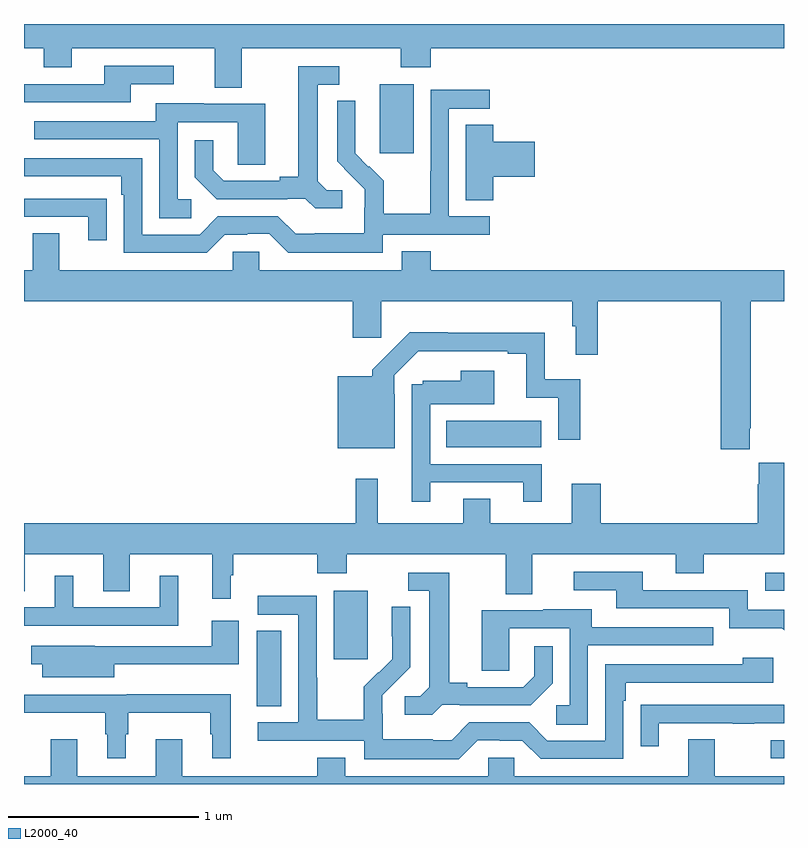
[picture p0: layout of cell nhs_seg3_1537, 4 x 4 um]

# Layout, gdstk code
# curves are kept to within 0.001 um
import gdstk
lib = gdstk.Library(unit=1e-6, precision=1e-09)
def R(c, l, rs):  # rectangles x0, y0, x1, y1
    for r in rs: c.add(gdstk.rectangle(r[:2], r[2:], *l))
def P(c, l, *ps):  # polygons
    for p in ps: c.add(gdstk.Polygon(p, *l))
L2000_40 = (2000, 40)

nhs_seg3_1537 = lib.new_cell('nhs_seg3_1537')
R(nhs_seg3_1537, L2000_40, [(194.931,674.535,195,674.631), (192.224,674.809,192.355,675.206), (192.629,675.057,192.808,675.418), (194.901,675.417,195,675.513), (193.222,676.172,193.723,676.312), (192.872,677.721,193.051,678.082)])
P(nhs_seg3_1537, L2000_40, [(192.145,678.272),(192.982,678.272),(192.982,678.173),(193.142,678.173),(193.142,678.272),(195,678.272),(195,678.4),(191,678.4),(191,678.272),(191.104,678.272),(191.104,678.173),(191.251,678.173),(191.251,678.272),(192.005,678.272),(192.005,678.064),(192.145,678.064)],
  [(191.563,678.084),(191.788,678.084),(191.788,678.18),(191.423,678.18),(191.423,678.084),(191,678.084),(191,677.988),(191.563,677.988)],
  [(192.676,677.526),(192.594,677.526),(192.547,677.573),(192.547,678.081),(192.658,678.081),(192.658,678.177),(192.443,678.177),(192.443,677.597),(192.347,677.597),(192.347,677.574),(192.052,677.574),(191.995,677.631),(191.995,677.788),(191.898,677.788),(191.898,677.594),(192.014,677.478),(192.386,677.478),(192.386,677.481),(192.48,677.481),(192.532,677.429),(192.676,677.429)],
  [(192.888,677.292),(193.45,677.292),(193.45,677.388),(193.236,677.388),(193.236,677.955),(193.45,677.955),(193.45,678.054),(193.14,678.054),(193.14,677.624),(193.138,677.624),(193.138,677.401),(192.893,677.401),(192.893,677.575),(192.816,677.652),(192.813,677.649),(192.743,677.72),(192.744,677.996),(192.648,677.996),(192.648,677.678),(192.794,677.53),(192.794,677.433),(192.792,677.433),(192.792,677.299),(192.529,677.299),(192.529,677.295),(192.429,677.295),(192.336,677.388),(192.021,677.388),(191.925,677.292),(191.622,677.292),(191.622,677.694),(191,677.694),(191,677.598),(191.513,677.598),(191.513,677.501),(191.526,677.501),(191.526,677.196),(191.961,677.196),(192.057,677.292),(192.176,677.292),(192.176,677.295),(192.291,677.295),(192.391,677.195),(192.888,677.195)],
  [(191.881,677.478),(191.808,677.478),(191.808,677.883),(192.126,677.883),(192.126,677.659),(192.271,677.659),(192.271,677.979),(191.947,677.979),(191.947,677.983),(191.693,677.983),(191.693,677.889),(191.053,677.889),(191.053,677.793),(191.712,677.793),(191.712,677.377),(191.881,677.377)],
  [(193.469,677.597),(193.687,677.597),(193.687,677.78),(193.469,677.78),(193.469,677.87),(193.325,677.87),(193.325,677.473),(193.469,677.473)],
  [(191.435,677.48),(191.333,677.48),(191.333,677.481),(191,677.481),(191,677.385),(191.339,677.385),(191.339,677.262),(191.435,677.262)],
  [(194.821,676.273),(194.826,676.273),(194.826,676.94),(195,676.94),(195,677.104),(193.142,677.104),(193.142,677.203),(192.989,677.203),(192.989,677.104),(192.237,677.104),(192.237,677.202),(192.099,677.202),(192.099,677.104),(191.185,677.104),(191.185,677.299),(191.045,677.299),(191.045,677.104),(191,677.104),(191,676.94),(192.731,676.94),(192.731,676.749),(192.881,676.749),(192.881,676.94),(193.885,676.94),(193.885,676.808),(193.904,676.808),(193.904,676.659),(194.021,676.659),(194.021,676.94),(194.666,676.94),(194.666,676.161),(194.821,676.161)],
  [(192.952,676.451),(192.948,676.451),(192.948,676.551),(193.074,676.677),(193.547,676.677),(193.547,676.665),(193.643,676.665),(193.643,676.434),(193.812,676.434),(193.812,676.212),(193.928,676.212),(193.928,676.53),(193.741,676.53),(193.741,676.774),(193.229,676.774),(193.229,676.777),(193.03,676.777),(192.833,676.579),(192.833,676.546),(192.65,676.546),(192.65,676.166),(192.952,676.166)],
  [(193.138,675.987),(193.628,675.987),(193.628,675.885),(193.726,675.885),(193.726,676.083),(193.137,676.083),(193.137,676.4),(193.474,676.4),(193.474,676.576),(193.298,676.576),(193.298,676.522),(193.098,676.522),(193.098,676.503),(193.041,676.503),(193.041,675.885),(193.138,675.885)],
  [(192.088,675.5),(192.1,675.5),(192.1,675.608),(192.544,675.608),(192.544,675.509),(192.699,675.509),(192.699,675.608),(193.535,675.608),(193.535,675.4),(193.675,675.4),(193.675,675.608),(194.429,675.608),(194.429,675.509),(194.577,675.509),(194.577,675.608),(195,675.608),(195,676.09),(194.867,676.09),(194.867,675.977),(194.861,675.977),(194.861,675.772),(194.036,675.772),(194.036,675.979),(193.883,675.979),(193.883,675.772),(193.453,675.772),(193.453,675.902),(193.313,675.902),(193.313,675.772),(192.863,675.772),(192.863,676.006),(192.745,676.006),(192.745,675.772),(191,675.772),(191,675.415),(191.005,675.415),(191.005,675.608),(191.417,675.608),(191.417,675.415),(191.557,675.415),(191.557,675.608),(191.99,675.608),(191.99,675.375),(192.088,675.375)],
  [(195,675.318),(194.808,675.318),(194.808,675.42),(194.257,675.42),(194.257,675.516),(193.893,675.516),(193.893,675.42),(194.117,675.42),(194.117,675.324),(194.712,675.324),(194.712,675.221),(194.989,675.221),(195,675.21)],
  [(193.2,674.817),(193.294,674.817),(193.294,674.814),(193.666,674.814),(193.782,674.93),(193.782,675.124),(193.685,675.124),(193.685,674.967),(193.628,674.91),(193.333,674.91),(193.333,674.933),(193.237,674.933),(193.237,675.513),(193.023,675.513),(193.023,675.417),(193.133,675.417),(193.133,674.909),(193.086,674.862),(193.005,674.862),(193.005,674.765),(193.148,674.765)],
  [(191.813,675.496),(191.714,675.496),(191.714,675.33),(191.26,675.33),(191.26,675.496),(191.162,675.496),(191.162,675.33),(191,675.33),(191,675.234),(191.813,675.234)],
  [(193.389,674.631),(193.505,674.631),(193.505,674.628),(193.623,674.628),(193.719,674.532),(194.154,674.532),(194.154,674.837),(194.167,674.837),(194.167,674.934),(194.944,674.934),(194.944,675.064),(194.783,675.064),(194.783,675.03),(194.058,675.03),(194.058,674.628),(193.755,674.628),(193.659,674.724),(193.344,674.724),(193.251,674.631),(193.151,674.631),(193.151,674.635),(192.888,674.635),(192.888,674.769),(192.886,674.769),(192.886,674.866),(193.032,675.014),(193.032,675.332),(192.936,675.332),(192.936,675.178),(192.938,675.178),(192.938,675.056),(192.867,674.985),(192.864,674.988),(192.787,674.911),(192.787,674.737),(192.543,674.737),(192.543,674.96),(192.54,674.96),(192.54,675.39),(192.231,675.39),(192.231,675.291),(192.444,675.291),(192.444,674.724),(192.231,674.724),(192.231,674.628),(192.792,674.628),(192.792,674.531),(193.289,674.531)],
  [(193.968,675.129),(194.627,675.129),(194.627,675.225),(193.987,675.225),(193.987,675.319),(193.733,675.319),(193.733,675.315),(193.409,675.315),(193.409,674.995),(193.554,674.995),(193.554,675.219),(193.872,675.219),(193.872,674.814),(193.8,674.814),(193.8,674.713),(193.968,674.713)],
  [(191.476,675.029),(192.13,675.029),(192.13,675.259),(191.987,675.259),(191.987,675.126),(191.372,675.126),(191.372,675.127),(191.037,675.127),(191.037,675.029),(191.096,675.029),(191.096,674.963),(191.476,674.963)],
  [(191.536,674.663),(191.548,674.663),(191.548,674.774),(191.979,674.774),(191.979,674.663),(191.99,674.663),(191.99,674.535),(192.088,674.535),(192.088,674.872),(191.542,674.872),(191.542,674.871),(191,674.871),(191,674.774),(191.427,674.774),(191.427,674.663),(191.438,674.663),(191.438,674.535),(191.536,674.535)],
  [(194.341,674.721),(194.731,674.721),(194.731,674.716),(194.843,674.716),(194.843,674.721),(195,674.721),(195,674.817),(194.347,674.817),(194.347,674.816),(194.245,674.816),(194.245,674.598),(194.341,674.598)],
  [(194.635,674.635),(194.495,674.635),(194.495,674.44),(193.581,674.44),(193.581,674.538),(193.443,674.538),(193.443,674.44),(192.691,674.44),(192.691,674.539),(192.544,674.539),(192.544,674.44),(191.833,674.44),(191.833,674.635),(191.693,674.635),(191.693,674.44),(191.281,674.44),(191.281,674.635),(191.141,674.635),(191.141,674.44),(191,674.44),(191,674.4),(195,674.4),(195,674.44),(194.635,674.44)])

lib.write_gds('nhs_seg3_1537.gds')
